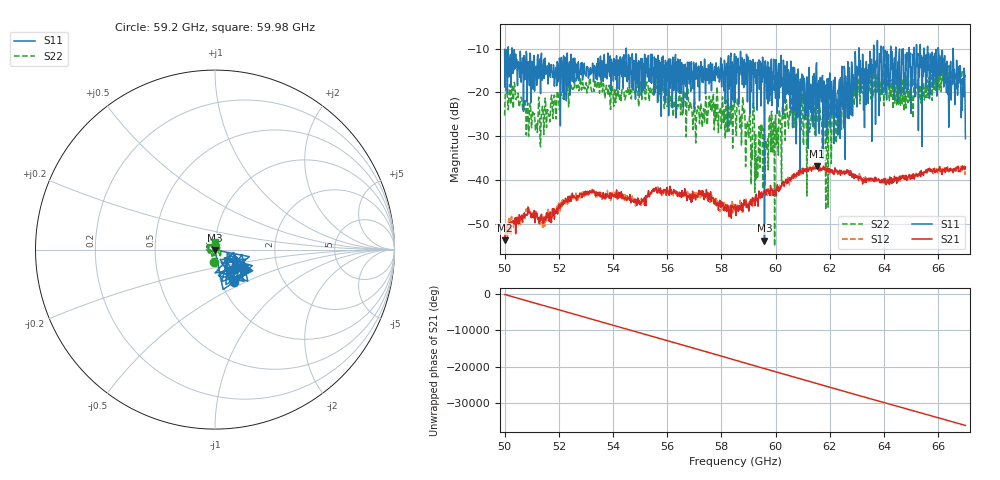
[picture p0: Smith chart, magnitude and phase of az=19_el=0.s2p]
!Created with skrf (http://scikit-rf.org).
# GHz S RI R 50.0
!freq ReS11 ImS11 ReS21 ImS21 ReS12 ImS12 ReS22 ImS22
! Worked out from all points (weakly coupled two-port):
!   1001 points, 50 GHz to 67 GHz, reference 50 ohm
!   highest |S21| = -36.79 dB at 61.53 GHz (marker M1); lowest = -53.9 dB at 50 GHz (marker M2)
!   lowest |S11| = -53.9 dB at 59.59 GHz (marker M3), VSWR 1.00, Z = 50 - j0.201 ohm
!   |S11| at or under -10 dB: 50.27 GHz to 54.49 GHz (4.215 GHz wide, 8.05 % of centre); 54.49 GHz to 63.07 GHz (8.584 GHz wide, 14.6 % of centre); 63.07 GHz to 63.61 GHz (540.6 MHz wide, 0.853 % of centre) (the widest 3 of 19)
!   |S22| runs from -55.2 to -13.9 dB; largest |S21 - S12| = 0.0019
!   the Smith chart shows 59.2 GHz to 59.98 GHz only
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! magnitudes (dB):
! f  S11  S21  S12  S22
! 50 GHz  -10.2  -53.9  -53.6  -25.3
! 50.42 GHz  -14.3  -49.8  -49.4  -21.7
! 51.38 GHz  -17.2  -48.4  -49.7  -24.1
! 52.84 GHz  -14.3  -43.3  -42.9  -19.5
! 55.68 GHz  -13.5  -42.1  -42.6  -21.8
! 57 GHz  -23.9  -43.6  -44.3  -21.5
! 57.62 GHz  -15.5  -44.9  -44.2  -21.7
! 58.5 GHz  -22.3  -46.3  -46.6  -24.6
! 59.59 GHz  -53.9  -42.3  -43.0  -28.9
! 60.64 GHz  -14.2  -38.9  -38.9  -22.3
! 61.34 GHz  -26.1  -37.5  -36.8  -24.9
! 61.53 GHz  -20.7  -36.8  -37.1  -26.6
! 61.88 GHz  -30.3  -38.1  -38.0  -22.6
! 62.61 GHz  -20.1  -38.4  -37.7  -20.6
! 63.01 GHz  -23.3  -39.5  -39.1  -20.2
! 63.33 GHz  -22.8  -39.9  -39.9  -19.3
! 63.69 GHz  -27.3  -40.0  -40.2  -16.4
! 64.18 GHz  -18.8  -40.2  -40.1  -18.5
! 66.08 GHz  -15.7  -37.9  -37.6  -15.5
! 66.42 GHz  -15.7  -38.0  -37.5  -16.4
! 66.75 GHz  -17.9  -37.4  -37.6  -18.5
! 67 GHz  -30.6  -37.0  -36.9  -16.0
